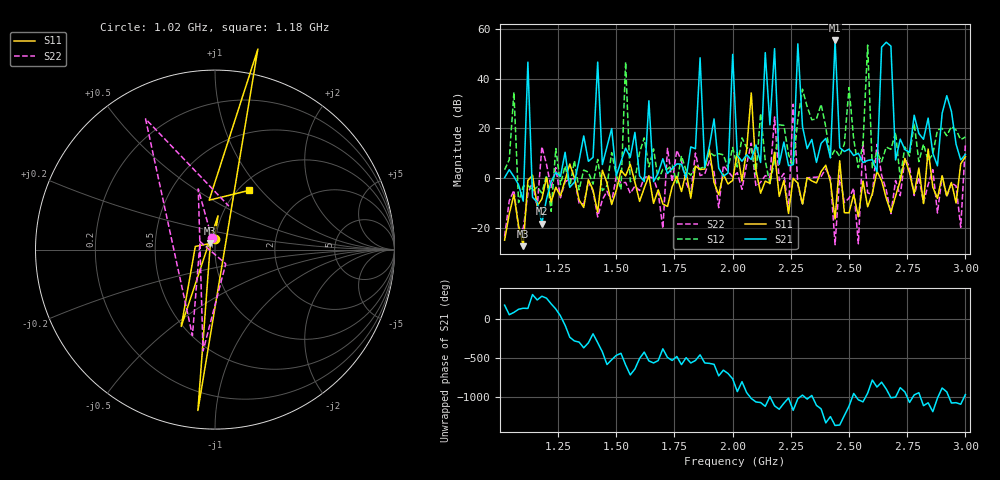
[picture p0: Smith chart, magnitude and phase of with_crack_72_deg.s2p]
# MHz S MA R 50
!  freq  S11  S21  S12  S22
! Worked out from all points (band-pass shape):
!   100 points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, 1.02 GHz to 3 GHz, reference 50 ohm
!   highest |S21| = 55.41 dB at 2.44 GHz (marker M1); lowest = -18.2 dB at 1.18 GHz (marker M2)
!   |S21| within 3 dB of the highest: 2.279322 GHz to 2.280992 GHz (1.67 MHz wide, 0.0733 % of centre); 2.64 GHz to 2.68 GHz (40.43 MHz wide, 1.52 % of centre) (the widest 2 of 3)
!   lowest |S11| = -27.4 dB at 1.1 GHz (marker M3), VSWR 1.09, Z = 47.4 + j3.24 ohm
!   |S11| at or under -10 dB: start of sweep to 1.051 GHz; 1.065 GHz to 1.113 GHz (47.69 MHz wide, 4.38 % of centre); 1.699 GHz to 1.723 GHz (24.86 MHz wide, 1.45 % of centre) (the widest 3 of 16)
!   |S22| runs from -26.8 to 29.7 dB; largest |S21 - S12| = 5.9e+02
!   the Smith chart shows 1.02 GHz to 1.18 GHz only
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1020  0.05678 92.2  1.022 177.6  1.476 -3.9  0.06724 105.3
1100  0.04283 127.1  0.3445 138.0  0.6894 87.3  0.09445 151.8
1180  0.3801 60.2  0.1224 -68.7  0.5043 -23.6  4.315 124.0
1360  0.2569 -110.0  7.058 -7.9  1.456 -156.9  0.298 -135.4
1680  0.5833 94.9  1.269 -171.1  0.9279 -68.1  0.5195 71.9
2020  3.362 -145.6  2.877 152.9  1.677 -23.9  1.285 -43.1
2180  3.31 82.2  403.4 -29.1  2.267 5.0  17.05 -92.2
2200  0.4294 99.7  1.892 -72.5  11.86 -37.8  0.8962 97.2
2260  0.9911 -92.4  1.873 -86.8  1.742 98.0  30.68 -30.9
2280  0.7926 105.8  504.4 62.6  15.24 -6.7  0.7521 98.1
2340  0.8814 83.5  6.013 103.4  14.97 24.8  1.037 68.0
2420  0.8477 53.0  2.575 -166.6  2.57 -163.5  1.015 92.9
2440  0.1511 -82.1  589.3 80.4  3.771 96.7  0.04579 -93.0
2460  2.239 125.3  4.107 85.5  2.752 97.4  1.125 113.3
2560  0.8748 -90.0  2.057 22.2  4.948 23.7  5.214 138.8
2580  0.2656 -135.6  2.27 132.5  475.3 0.8  0.5111 85.3
2600  0.4866 8.1  2.357 -59.4  1.618 141.9  0.4566 154.1
2640  0.8928 31.4  431.9 -86.9  2.147 -143.3  1.147 65.7
2660  0.3922 -24.2  543.1 -174.8  4.222 -147.6  0.5769 -30.2
2680  0.2068 4.7  452.7 74.6  3.807 160.4  0.1931 -14.3
2700  0.437 106.5  2.316 81.9  8.338 90.2  0.8981 84.3
3000  2.702 140.2  3 114.7  6.736 85.4  4.767 -60.4
